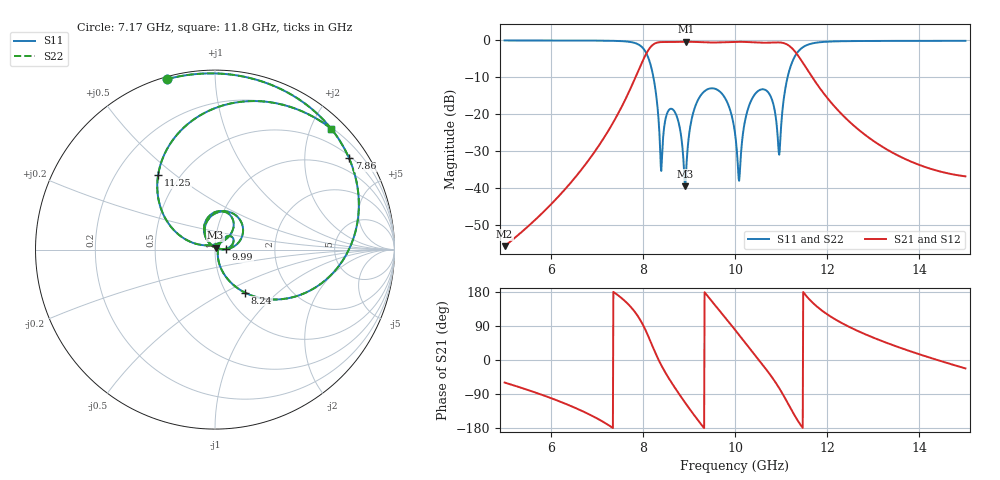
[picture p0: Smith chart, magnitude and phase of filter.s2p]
! Created Wed Aug 30 10:10:00 2023
# ghz S ri R 50
! 2 Port Network Data from SP1.SP block
! freq  reS11  imS11  reS21  imS21  reS12  imS12  reS22  imS22
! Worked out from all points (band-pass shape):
!   1001 points, 5 GHz to 15 GHz, reference 50 ohm
!   highest |S21| = -0.39 dB at 8.93 GHz (marker M1); lowest = -55.6 dB at 5 GHz (marker M2)
!   |S21| within 3 dB of the highest: 8.084 GHz to 11.32 GHz (3.24 GHz wide, 33.4 % of centre)
!   lowest |S11| = -39.4 dB at 8.92 GHz (marker M3), VSWR 1.02, Z = 50.3 + j1.03 ohm
!   |S11| at or under -10 dB: 8.23 GHz to 11.14 GHz (2.911 GHz wide, 30.1 % of centre)
!   |S22| runs from -39.4 to -0.1 dB; largest |S21 - S12| = 0
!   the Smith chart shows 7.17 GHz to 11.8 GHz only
!   S11 on the Smith chart (normalised r, x): 7.17 GHz: 0.01, +0.75; 7.86 GHz: 0.57, +3.15; 8.24 GHz: 1.22, -0.64; 9.99 GHz: 1.13, +0.01; 11.25 GHz: 0.38, +0.44; 11.8 GHz: 0.22, +2.33
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5  -0.8547 -0.5075  0.00084 -0.00143  0.00084 -0.00143  -0.8547 -0.5075
6.67  -0.725 0.6755  -0.0125 -0.013  -0.0125 -0.013  -0.725 0.6755
7.17  -0.2701 0.9488  -0.0481 -0.0125  -0.0481 -0.0125  -0.2701 0.9488
7.86  0.7471 0.5086  -0.176 0.2879  -0.176 0.2879  0.7471 0.5086
8.24  0.1664 -0.2396  0.7869 0.4132  0.7869 0.4132  0.1664 -0.2396
8.34  0.0249 -0.0829  0.9375 0.0146  0.9375 0.0146  0.0249 -0.0829
8.41  0.0194 0.0113  0.9098 -0.2596  0.9098 -0.2596  0.0194 0.0113
8.69  0.1016 0.0381  0.29 -0.9032  0.29 -0.9032  0.1016 0.0381
8.92  0.00299 0.0102  -0.3748 -0.8793  -0.3748 -0.8793  0.00299 0.0102
8.93  -0.00218 0.0127  -0.401 -0.8676  -0.401 -0.8676  -0.00218 0.0127
9.36  0.0196 0.209  -0.9329 0.0712  -0.9329 0.0712  0.0196 0.209
9.99  0.0614 0.00265  0.1451 0.9416  0.1451 0.9416  0.0614 0.00265
10  0.0555 0.00218  0.1703 0.9376  0.1703 0.9376  0.0555 0.00218
10.1  -0.00163 0.0147  0.4132 0.8595  0.4132 0.8595  -0.00163 0.0147
10.29  -0.0613 0.1063  0.774 0.5424  0.774 0.5424  -0.0613 0.1063
10.6  0.0473 0.2128  0.9035 -0.2023  0.9035 -0.2023  0.0473 0.2128
10.96  -0.00799 0.0273  0.2517 -0.9004  0.2517 -0.9004  -0.00799 0.0273
11.25  -0.3168 0.4166  -0.5602 -0.5222  -0.5602 -0.5222  -0.3168 0.4166
11.67  0.4509 0.7843  -0.2862 0.1455  -0.2862 0.1455  0.4509 0.7843
11.8  0.6464 0.6746  -0.1841 0.1611  -0.1841 0.1611  0.6464 0.6746
13.34  0.6559 -0.7283  0.0236 0.022  0.0236 0.022  0.6559 -0.7283
15  -0.3752 -0.9079  0.0135 -0.00549  0.0135 -0.00549  -0.3752 -0.9079
